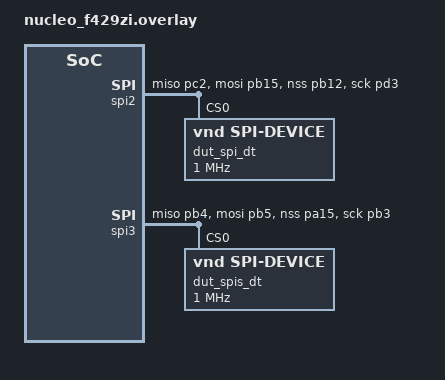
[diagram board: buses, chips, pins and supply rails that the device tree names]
/*
 * SPDX-FileCopyrightText: Copyright (c) 2026 STMicroelectronics
 * SPDX-License-Identifier: Apache-2.0
 */

/* The two SPI instances need to be connected as follows:
 * CN10:9 (SPI2 MISO) to CN7:19 (SPI3 MISO)
 * CN7:3 (SPI2 MOSI) to CN7:13 (SPI3 MOSI)
 * CN7:7 (SPI2 NSS) to CN7:9 (SPI3 NSS)
 * CN9:10 (SPI2 SCK) to CN7:15 (SPI3 SCK)
 */

&spi2 {
	interrupts = <36 1>;
	pinctrl-0 = <&spi2_miso_pc2 &spi2_mosi_pb15 &spi2_nss_pb12 &spi2_sck_pd3>;
	pinctrl-names = "default";
	status = "okay";

	dut_spi_dt: test-spi-dev@0 {
		compatible = "vnd,spi-device";
		spi-max-frequency = <DT_FREQ_M(1)>;
		reg = <0>;
	};
};

dut_spis: &spi3 {
	interrupts = <51 0>;
	pinctrl-0 = <&spi3_miso_pb4 &spi3_mosi_pb5 &spi3_nss_pa15 &spi3_sck_pb3>;
	pinctrl-names = "default";
	status = "okay";

	dut_spis_dt: test-spi-dev@0 {
		compatible = "vnd,spi-device";
		spi-max-frequency = <DT_FREQ_M(1)>;
		reg = <0>;
	};
};
